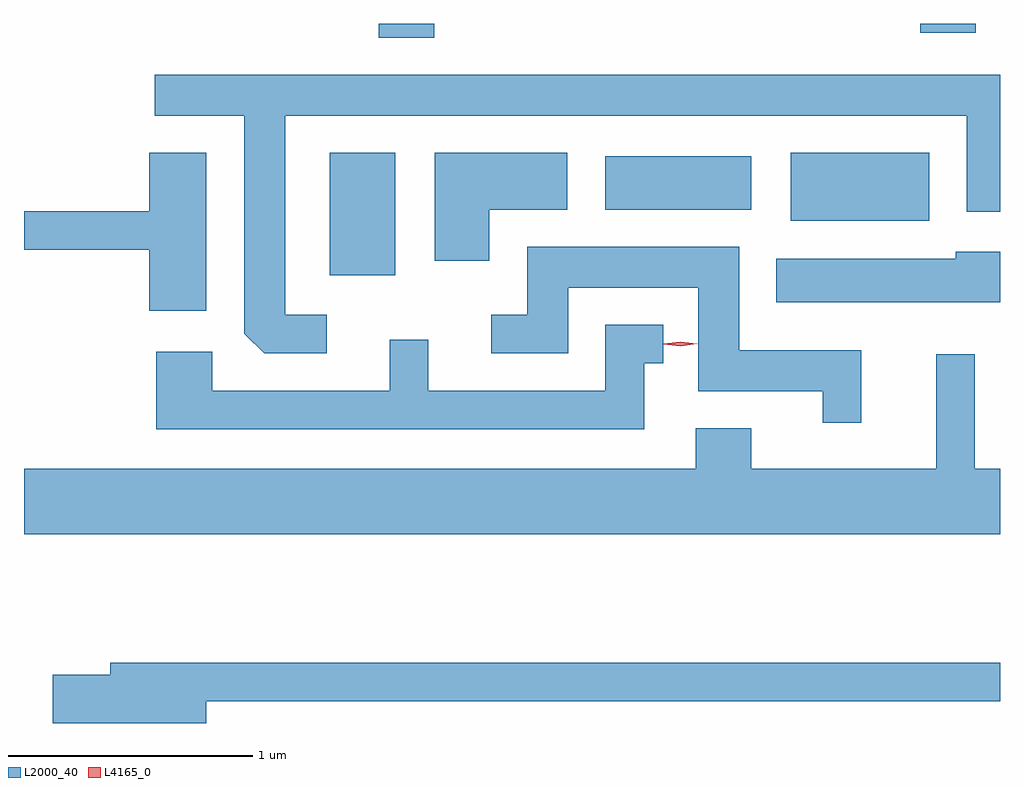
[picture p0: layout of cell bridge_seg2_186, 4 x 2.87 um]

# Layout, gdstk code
import gdstk
lib = gdstk.Library(unit=1e-6, precision=1e-09)
def R(c, l, rs):  # rectangles x0, y0, x1, y1
    for r in rs: c.add(gdstk.rectangle(r[:2], r[2:], *l))
def P(c, l, *ps):  # polygons
    for p in ps: c.add(gdstk.Polygon(p, *l))
L2000_40 = (2000, 40)
L4165_0 = (4165, 0)

bridge_seg2_186 = lib.new_cell('bridge_seg2_186')
R(bridge_seg2_186, L2000_40, [(678.161,1036.056,678.429,1036.559), (680.051,1036.281,680.619,1036.559), (679.291,1036.326,679.889,1036.544), (678.361,1037.031,678.589,1037.087), (680.581,1037.051,680.809,1037.087)])
P(bridge_seg2_186, L2000_40, [(678.148,1035.894),(677.979,1035.894),(677.979,1036.711),(680.771,1036.711),(680.771,1036.316),(680.908,1036.316),(680.908,1036.879),(677.443,1036.879),(677.443,1036.711),(677.811,1036.711),(677.811,1035.817),(677.892,1035.736),(678.148,1035.736)],
  [(678.814,1036.326),(679.134,1036.326),(679.134,1036.559),(678.591,1036.559),(678.591,1036.116),(678.814,1036.116)],
  [(677.654,1036.559),(677.421,1036.559),(677.421,1036.319),(676.908,1036.319),(676.908,1036.161),(677.421,1036.161),(677.421,1035.911),(677.654,1035.911)],
  [(680.339,1035.749),(679.839,1035.749),(679.839,1036.174),(678.971,1036.174),(678.971,1035.894),(678.823,1035.894),(678.823,1035.736),(679.139,1035.736),(679.139,1036.006),(679.671,1036.006),(679.671,1035.581),(680.181,1035.581),(680.181,1035.453),(680.339,1035.453)],
  [(680.908,1036.154),(680.726,1036.154),(680.726,1036.124),(679.991,1036.124),(679.991,1035.946),(680.908,1035.946)],
  [(679.449,1035.696),(679.528,1035.696),(679.528,1035.854),(679.291,1035.854),(679.291,1035.584),(678.564,1035.584),(678.564,1035.793),(678.406,1035.793),(678.406,1035.584),(677.679,1035.584),(677.679,1035.744),(677.451,1035.744),(677.451,1035.426),(679.449,1035.426)],
  [(680.908,1035.264),(680.804,1035.264),(680.804,1035.733),(680.646,1035.733),(680.646,1035.264),(679.889,1035.264),(679.889,1035.429),(679.661,1035.429),(679.661,1035.264),(676.908,1035.264),(676.908,1034.996),(680.908,1034.996)],
  [(677.654,1034.311),(680.908,1034.311),(680.908,1034.469),(677.261,1034.469),(677.261,1034.419),(677.026,1034.419),(677.026,1034.221),(677.654,1034.221)])
P(bridge_seg2_186, L4165_0, [(679.598,1035.765),(679.529,1035.774),(679.529,1035.775),(679.529,1035.775),(679.598,1035.785),(679.668,1035.776),(679.668,1035.776),(679.668,1035.775)])

lib.write_gds('bridge_seg2_186.gds')
